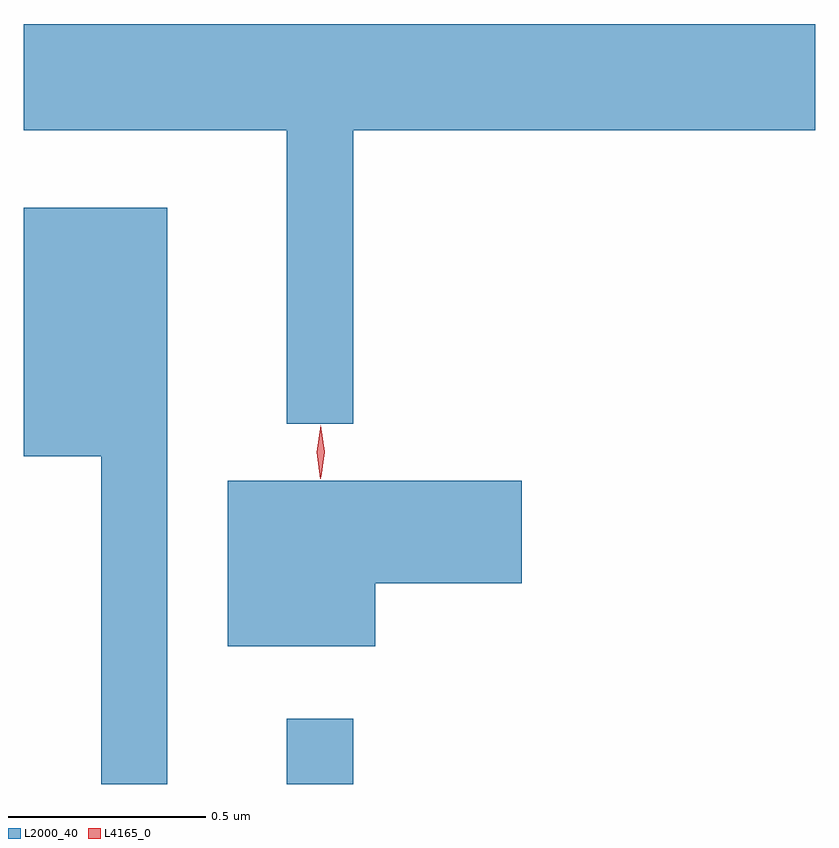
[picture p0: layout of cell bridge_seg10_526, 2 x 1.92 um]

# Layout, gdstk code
import gdstk
lib = gdstk.Library(unit=1e-6, precision=1e-09)
def R(c, l, rs):  # rectangles x0, y0, x1, y1
    for r in rs: c.add(gdstk.rectangle(r[:2], r[2:], *l))
def P(c, l, *ps):  # polygons
    for p in ps: c.add(gdstk.Polygon(p, *l))
L2000_40 = (2000, 40)
L4165_0 = (4165, 0)

bridge_seg10_526 = lib.new_cell('bridge_seg10_526')
R(bridge_seg10_526, L2000_40, [(921.601,2169.983,921.769,2170.148)])
P(bridge_seg10_526, L2000_40, [(921.769,2171.636),(922.936,2171.636),(922.936,2171.904),(920.936,2171.904),(920.936,2171.636),(921.601,2171.636),(921.601,2170.893),(921.769,2170.893)],
  [(921.299,2171.439),(920.936,2171.439),(920.936,2170.811),(921.131,2170.811),(921.131,2169.983),(921.299,2169.983)],
  [(921.824,2170.491),(922.194,2170.491),(922.194,2170.749),(921.451,2170.749),(921.451,2170.331),(921.824,2170.331)])
P(bridge_seg10_526, L4165_0, [(921.685,2170.754),(921.685,2170.754),(921.676,2170.822),(921.686,2170.89),(921.687,2170.89),(921.687,2170.89),(921.696,2170.822),(921.686,2170.754)],
  [(921.687,2170.76),(921.687,2170.76),(921.677,2170.823),(921.686,2170.886),(921.687,2170.887),(921.687,2170.886),(921.697,2170.823),(921.688,2170.76)])

lib.write_gds('bridge_seg10_526.gds')
